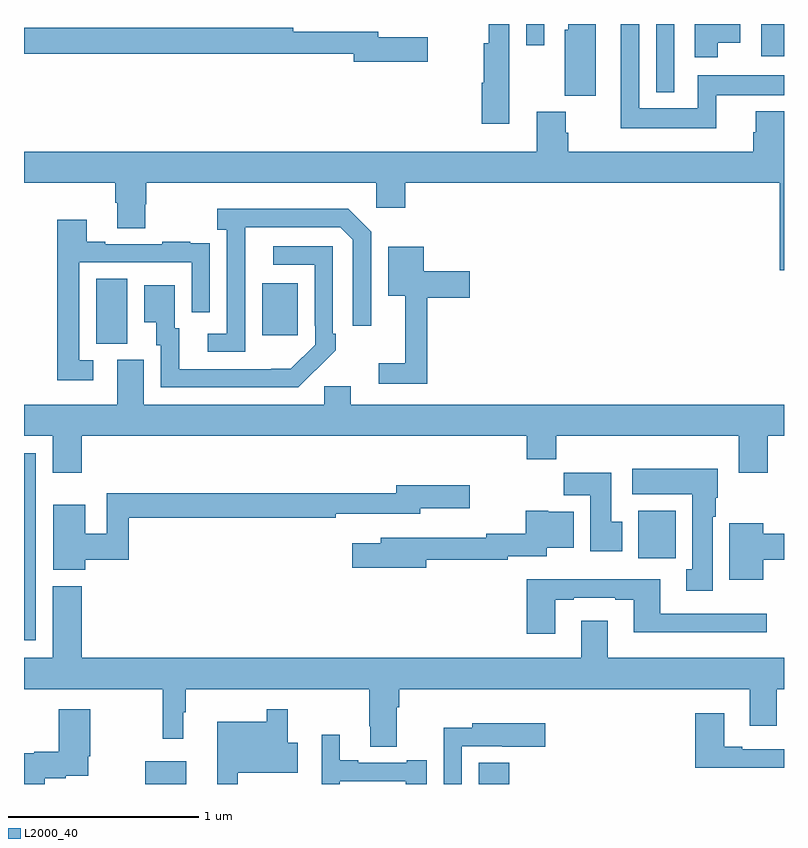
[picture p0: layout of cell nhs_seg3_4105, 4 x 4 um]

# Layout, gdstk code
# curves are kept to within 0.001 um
import gdstk
lib = gdstk.Library(unit=1e-6, precision=1e-09)
def R(c, l, rs):  # rectangles x0, y0, x1, y1
    for r in rs: c.add(gdstk.rectangle(r[:2], r[2:], *l))
def P(c, l, *ps):  # polygons
    for p in ps: c.add(gdstk.Polygon(p, *l))
L2000_40 = (2000, 40)

nhs_seg3_4105 = lib.new_cell('nhs_seg3_4105')
R(nhs_seg3_4105, L2000_40, [(327.638,716.4,327.853,716.521), (329.393,716.4,329.555,716.512), (327,717.156,327.063,718.14), (330.233,717.588,330.429,717.838), (327.38,718.717,327.544,719.06), (328.253,718.761,328.441,719.035), (330.327,720.041,330.423,720.4), (330.881,720.23,331,720.4), (329.643,720.288,329.739,720.4)])
P(nhs_seg3_4105, L2000_40, [(329.554,720.194),(329.553,720.194),(329.553,720.4),(329.445,720.4),(329.445,720.298),(329.42,720.298),(329.42,720.09),(329.408,720.09),(329.408,719.874),(329.554,719.874)],
  [(330.652,720.302),(330.769,720.302),(330.769,720.4),(330.53,720.4),(330.53,720.225),(330.652,720.225)],
  [(330.644,720.026),(331,720.026),(331,720.13),(330.546,720.13),(330.546,719.956),(330.237,719.956),(330.237,720.4),(330.14,720.4),(330.14,719.852),(330.644,719.852)],
  [(330.01,720.4),(329.864,720.4),(329.864,720.369),(329.846,720.369),(329.846,720.022),(330.01,720.022)],
  [(329.125,720.331),(328.864,720.331),(328.864,720.36),(328.418,720.36),(328.418,720.38),(327,720.38),(327,720.244),(328.736,720.244),(328.736,720.202),(329.125,720.202)],
  [(331,719.941),(330.851,719.941),(330.851,719.829),(330.839,719.829),(330.839,719.728),(329.864,719.728),(329.864,719.828),(329.851,719.828),(329.851,719.937),(329.699,719.937),(329.699,719.728),(327,719.728),(327,719.564),(327.479,719.564),(327.479,719.458),(327.491,719.458),(327.491,719.326),(327.639,719.326),(327.639,719.451),(327.644,719.451),(327.644,719.564),(328.854,719.564),(328.854,719.433),(329.006,719.433),(329.006,719.564),(330.977,719.564),(330.977,719.103),(331,719.103)],
  [(328.164,719.131),(328.165,719.331),(328.665,719.331),(328.731,719.265),(328.731,718.812),(328.827,718.812),(328.827,719.307),(328.706,719.428),(328.017,719.428),(328.017,719.318),(328.068,719.318),(328.068,718.77),(327.966,718.77),(327.966,718.674),(328.164,718.674)],
  [(327.364,718.629),(327.291,718.629),(327.291,719.145),(327.882,719.145),(327.882,718.884),(327.978,718.884),(327.978,719.138),(327.977,719.138),(327.977,719.247),(327.875,719.247),(327.875,719.254),(327.727,719.254),(327.727,719.241),(327.427,719.241),(327.427,719.254),(327.331,719.254),(327.331,719.371),(327.175,719.371),(327.175,718.524),(327.364,718.524)],
  [(328.535,718.579),(328.536,718.578),(328.641,718.683),(328.641,718.771),(328.626,718.771),(328.626,719.229),(328.311,719.229),(328.311,719.133),(328.53,719.133),(328.53,718.813),(328.533,718.813),(328.533,718.713),(328.405,718.585),(327.817,718.584),(327.817,718.8),(327.793,718.8),(327.793,719.026),(327.632,719.026),(327.632,718.829),(327.695,718.829),(327.695,718.71),(327.72,718.71),(327.72,718.488),(328.444,718.488)],
  [(329.123,718.958),(329.347,718.958),(329.347,719.1),(329.104,719.1),(329.104,719.227),(328.916,719.227),(328.916,718.97),(329.006,718.97),(329.006,718.615),(328.866,718.615),(328.866,718.506),(329.123,718.506)],
  [(327.305,718.232),(329.645,718.232),(329.645,718.108),(329.801,718.108),(329.801,718.232),(330.761,718.232),(330.761,718.038),(330.914,718.038),(330.914,718.232),(331,718.232),(331,718.396),(328.72,718.396),(328.72,718.494),(328.581,718.494),(328.581,718.396),(327.631,718.396),(327.631,718.632),(327.491,718.632),(327.491,718.396),(327,718.396),(327,718.232),(327.152,718.232),(327.152,718.038),(327.305,718.038)],
  [(330.625,717.806),(330.64,717.806),(330.64,717.906),(330.652,717.906),(330.652,718.06),(330.201,718.06),(330.201,717.926),(330.518,717.926),(330.518,717.529),(330.485,717.529),(330.485,717.417),(330.625,717.417)],
  [(330.148,717.78),(330.091,717.78),(330.091,718.039),(329.842,718.039),(329.842,717.92),(329.981,717.92),(329.981,717.624),(330.148,717.624)],
  [(327.322,717.58),(327.551,717.58),(327.551,717.802),(328.64,717.802),(328.64,717.822),(329.086,717.822),(329.086,717.851),(329.347,717.851),(329.347,717.973),(328.958,717.973),(328.958,717.931),(327.435,717.931),(327.435,717.716),(327.322,717.716),(327.322,717.871),(327.155,717.871),(327.155,717.527),(327.322,717.527)],
  [(329.116,717.58),(329.546,717.58),(329.546,717.6),(329.752,717.6),(329.752,717.644),(329.893,717.644),(329.893,717.832),(329.76,717.832),(329.76,717.838),(329.642,717.838),(329.642,717.716),(329.434,717.716),(329.434,717.697),(328.877,717.697),(328.877,717.667),(328.728,717.667),(328.728,717.538),(329.116,717.538)],
  [(330.892,717.58),(331,717.58),(331,717.716),(330.892,717.716),(330.892,717.772),(330.713,717.772),(330.713,717.476),(330.892,717.476)],
  [(329.797,717.369),(329.893,717.369),(329.893,717.381),(330.113,717.381),(330.113,717.369),(330.209,717.369),(330.209,717.2),(330.91,717.2),(330.91,717.297),(330.349,717.297),(330.349,717.478),(329.645,717.478),(329.645,717.192),(329.797,717.192)],
  [(328.963,716.804),(328.976,716.804),(328.976,716.9),(330.821,716.9),(330.821,716.706),(330.961,716.706),(330.961,716.9),(331,716.9),(331,717.064),(330.073,717.064),(330.073,717.259),(329.933,717.259),(329.933,717.064),(327.305,717.064),(327.305,717.442),(327.152,717.442),(327.152,717.064),(327,717.064),(327,716.9),(327.729,716.9),(327.729,716.637),(327.838,716.637),(327.838,716.777),(327.85,716.777),(327.85,716.9),(328.816,716.9),(328.816,716.704),(328.823,716.704),(328.823,716.596),(328.963,716.596)],
  [(327.11,716.429),(327.219,716.429),(327.219,716.443),(327.338,716.443),(327.338,716.545),(327.348,716.545),(327.348,716.794),(327.182,716.794),(327.182,716.571),(327.054,716.571),(327.054,716.563),(327,716.563),(327,716.4),(327.11,716.4)],
  [(328.126,716.459),(328.441,716.459),(328.441,716.617),(328.388,716.617),(328.388,716.794),(328.278,716.794),(328.278,716.728),(328.016,716.728),(328.016,716.4),(328.126,716.4)],
  [(331,716.583),(330.781,716.583),(330.781,716.596),(330.685,716.596),(330.685,716.773),(330.533,716.773),(330.533,716.486),(331,716.486)],
  [(329.304,716.598),(329.516,716.598),(329.516,716.597),(329.743,716.597),(329.743,716.719),(329.358,716.719),(329.358,716.696),(329.208,716.696),(329.208,716.4),(329.304,716.4)],
  [(328.662,716.415),(329.009,716.415),(329.009,716.4),(329.119,716.4),(329.119,716.524),(329.015,716.524),(329.015,716.511),(328.759,716.511),(328.759,716.524),(328.663,716.524),(328.663,716.659),(328.566,716.659),(328.566,716.4),(328.662,716.4)])

lib.write_gds('nhs_seg3_4105.gds')
